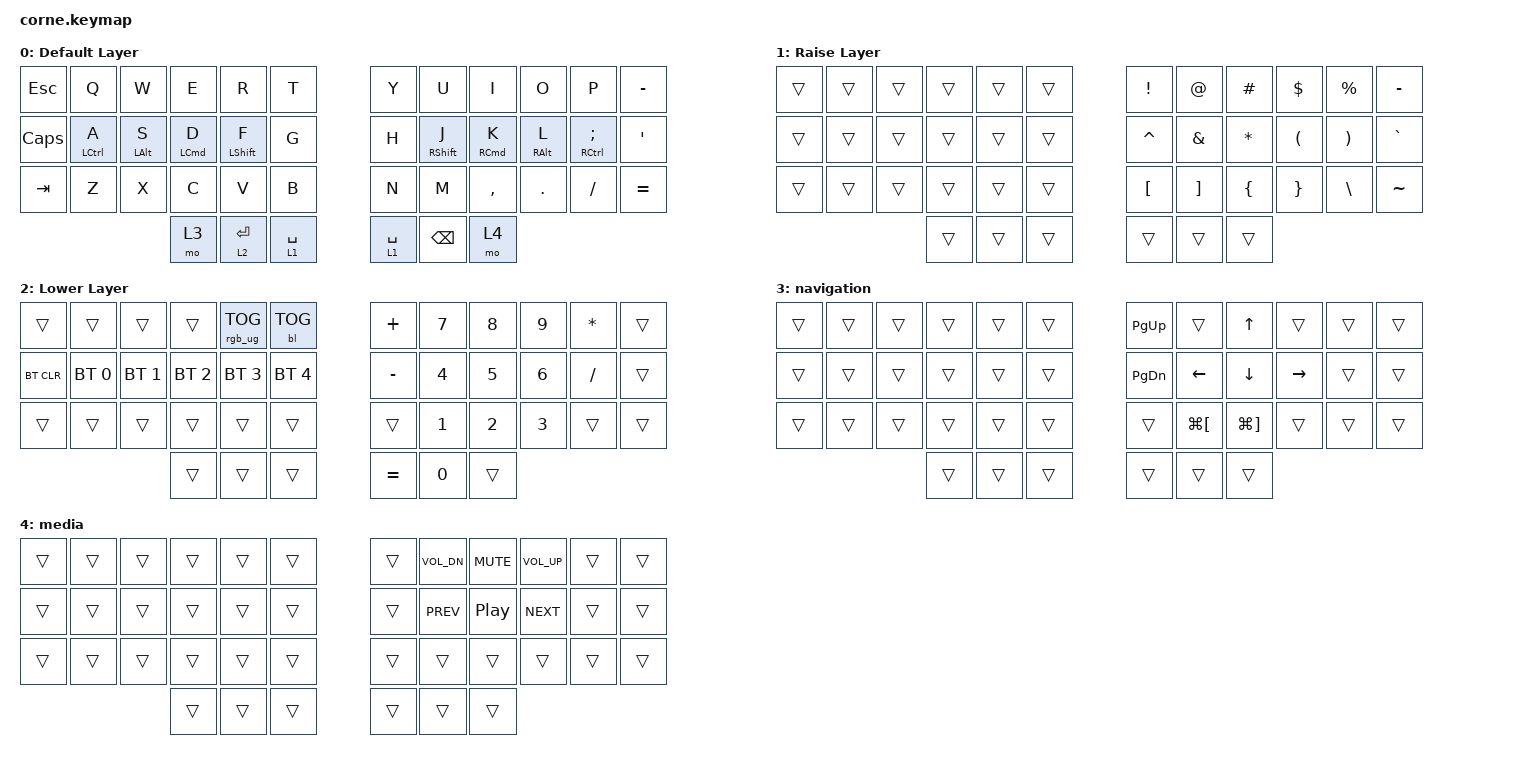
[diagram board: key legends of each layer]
/*
 * Copyright (c) 2020 The ZMK Contributors
 *
 * SPDX-License-Identifier: MIT
 */

#include <behaviors.dtsi>
#include <dt-bindings/zmk/backlight.h>
#include <dt-bindings/zmk/bt.h>
#include <dt-bindings/zmk/keys.h>
#include <dt-bindings/zmk/rgb.h>

/ {
    combos {
        compatible = "zmk,combos";

        caps_word {
            bindings = <&caps_word>;
            key-positions = <17 18>;
        };

        zoom_in {
            bindings = <&kp LG(PLUS)>;
            key-positions = <19 20>;
        };

        zoom_out {
            bindings = <&kp LG(MINUS)>;
            key-positions = <31 32>;
        };

        zoom_reset {
            bindings = <&kp LG(N0)>;
            key-positions = <7 8>;
        };
    };

    behaviors {
        hml: homewrow_mods_left {
            compatible = "zmk,behavior-hold-tap";
            label = "HOMEROW_MODS_LEFT_HAND";
            bindings = <&kp>, <&kp>;

            #binding-cells = <2>;
            tapping-term-ms = <200>;
            hold-trigger-key-positions = <6 18 30 39 40 41 7 19 31 32 20 8 9 21 33 10 11 22 23 34 35>;
        };

        hmr: homewrow_mods_right {
            compatible = "zmk,behavior-hold-tap";
            label = "HOMEROW_MODS_RIGHT_HAND";
            bindings = <&kp>, <&kp>;

            #binding-cells = <2>;
            tapping-term-ms = <200>;
            hold-trigger-key-positions = <0 1 2 3 4 5 12 13 14 15 16 17 24 25 26 27 28 29 36 37 38>;
        };
    };

    keymap {
        compatible = "zmk,keymap";

        base {
            display-name = "Default Layer";

            // -----------------------------------------------------------------------------------------
            // |  TAB |  Q  |  W  |  E  |  R  |  T  |   |  Y  |  U   |  I  |  O  |  P  | BSPC |
            // | CTRL |  A  |  S  |  D  |  F  |  G  |   |  H  |  J   |  K  |  L  |  ;  |  '   |
            // | SHFT |  Z  |  X  |  C  |  V  |  B  |   |  N  |  M   |  ,  |  .  |  /  | ESC  |
            //                    | GUI | LWR | SPC |   | ENT | RSE  | ALT |

            bindings = <
&kp ESC       &kp Q                &kp W            &kp E                &kp R              &kp T          &kp Y        &kp U               &kp I                 &kp O             &kp P                    &kp MINUS
&kp CAPSLOCK  &hml LEFT_CONTROL A  &hml LEFT_ALT S  &hml LEFT_COMMAND D  &hml LEFT_SHIFT F  &kp G          &kp H        &hmr RIGHT_SHIFT J  &hmr RIGHT_COMMAND K  &hmr RIGHT_ALT L  &hmr RIGHT_CONTROL SEMI  &kp SQT
&kp TAB       &kp Z                &kp X            &kp C                &kp V              &kp B          &kp N        &kp M               &kp COMMA             &kp DOT           &kp FSLH                 &kp EQUAL
                                                    &mo 3                &lt 2 ENTER        &lt 1 SPACE    &lt 1 SPACE  &kp BACKSPACE       &mo 4
            >;
        };

        symbols {
            display-name = "Raise Layer";

            // -----------------------------------------------------------------------------------------
            // |  TAB |  !  |  @  |  #  |  $  |  %  |   |  ^  |  &  |  *  |  (  |  )  | BSPC |
            // | CTRL |     |     |     |     |     |   |  -  |  =  |  [  |  ]  |  \  |  `   |
            // | SHFT |     |     |     |     |     |   |  _  |  +  |  {  |  }  | "|" |  ~   |
            //                    | GUI |     | SPC |   | ENT |     | ALT |

            bindings = <
&trans  &trans  &trans  &trans  &trans  &trans    &kp EXCL   &kp AT    &kp HASH   &kp DOLLAR  &kp PRCNT              &kp MINUS
&trans  &trans  &trans  &trans  &trans  &trans    &kp CARET  &kp AMPS  &kp ASTRK  &kp LPAR    &kp RIGHT_PARENTHESIS  &kp GRAVE
&trans  &trans  &trans  &trans  &trans  &trans    &kp LBKT   &kp RBKT  &kp LBRC   &kp RBRC    &kp BACKSLASH          &kp TILDE
                        &trans  &trans  &trans    &trans     &trans    &trans
            >;
        };

        numpad {
            display-name = "Lower Layer";

            // -----------------------------------------------------------------------------------------
            // |  TAB |  1  |  2  |  3  |  4  |  5  |   |  6  |  7  |  8  |  9  |  0  | BSPC |
            // | BTCLR| BT1 | BT2 | BT3 | BT4 | BT5 |   | LFT | DWN |  UP | RGT |     |      |
            // | SHFT |     |     |     |     |     |   |     |     |     |     |     |      |
            //                    | GUI |     | SPC |   | ENT |     | ALT |

            bindings = <
&trans      &trans        &trans        &trans        &rgb_ug RGB_TOG  &bl BL_TOG      &kp PLUS   &kp N7  &kp N8  &kp N9  &kp ASTERISK  &trans
&bt BT_CLR  &bt BT_SEL 0  &bt BT_SEL 1  &bt BT_SEL 2  &bt BT_SEL 3     &bt BT_SEL 4    &kp MINUS  &kp N4  &kp N5  &kp N6  &kp SLASH     &trans
&trans      &trans        &trans        &trans        &trans           &trans          &trans     &kp N1  &kp N2  &kp N3  &trans        &trans
                                        &trans        &trans           &trans          &kp EQUAL  &kp N0  &trans
            >;
        };

        navigation {
            bindings = <
&trans  &trans  &trans  &trans  &trans  &trans    &kp PAGE_UP    &trans                &kp UP                 &trans     &trans  &trans
&trans  &trans  &trans  &trans  &trans  &trans    &kp PAGE_DOWN  &kp LEFT              &kp DOWN               &kp RIGHT  &trans  &trans
&trans  &trans  &trans  &trans  &trans  &trans    &trans         &kp LG(LEFT_BRACKET)  &kp LG(RIGHT_BRACKET)  &trans     &trans  &trans
                        &trans  &trans  &trans    &trans         &trans                &trans
            >;
        };

        media {
            bindings = <
&trans  &trans  &trans  &trans  &trans  &trans    &trans  &kp C_VOL_DN  &kp C_MUTE        &kp C_VOL_UP  &trans  &trans
&trans  &trans  &trans  &trans  &trans  &trans    &trans  &kp C_PREV    &kp C_PLAY_PAUSE  &kp C_NEXT    &trans  &trans
&trans  &trans  &trans  &trans  &trans  &trans    &trans  &trans        &trans            &trans        &trans  &trans
                        &trans  &trans  &trans    &trans  &trans        &trans
            >;
        };
    };
};
